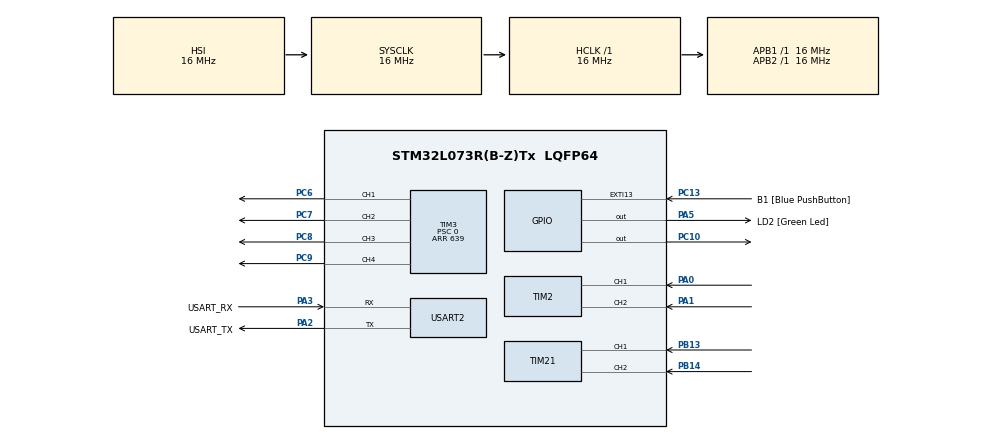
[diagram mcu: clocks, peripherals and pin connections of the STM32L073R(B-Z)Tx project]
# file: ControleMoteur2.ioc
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Mcu.Family=STM32L0
Mcu.Name=STM32L073R(B-Z)Tx
Mcu.Package=LQFP64
PA0.GPIO_PuPd=GPIO_PULLUP
PA0.GPIO_Speed=GPIO_SPEED_FREQ_HIGH
PA0.Signal=S_TIM2_CH1
PA1.GPIO_PuPd=GPIO_PULLUP
PA1.GPIO_Speed=GPIO_SPEED_FREQ_HIGH
PA1.Signal=S_TIM2_CH2
PA13.GPIO_Label=TMS
PA13.Mode=Serial_Wire
PA13.Signal=SYS_SWDIO
PA14.GPIO_Label=TCK
PA14.Mode=Serial_Wire
PA14.Signal=SYS_SWCLK
PA2.GPIO_Label=USART_TX
PA2.Mode=Asynchronous
PA2.Signal=USART2_TX
PA3.GPIO_Label=USART_RX
PA3.Mode=Asynchronous
PA3.Signal=USART2_RX
PA5.GPIO_Label=LD2 [Green Led]
PA5.Signal=GPIO_Output
PB13.GPIO_PuPd=GPIO_PULLUP
PB13.GPIO_Speed=GPIO_SPEED_FREQ_HIGH
PB13.Signal=S_TIM21_CH1
PB14.GPIO_PuPd=GPIO_PULLUP
PB14.GPIO_Speed=GPIO_SPEED_FREQ_HIGH
PB14.Signal=S_TIM21_CH2
PC10.Signal=GPIO_Output
PC13.GPIO_Label=B1 [Blue PushButton]
PC13.GPIO_ModeDefaultEXTI=GPIO_MODE_IT_FALLING
PC13.Signal=GPXTI13
PC14-OSC32_IN.Mode=LSE-External-Oscillator
PC14-OSC32_IN.Signal=RCC_OSC32_IN
PC15-OSC32_OUT.Mode=LSE-External-Oscillator
PC15-OSC32_OUT.Signal=RCC_OSC32_OUT
PC6.Signal=S_TIM3_CH1
PC7.Signal=S_TIM3_CH2
PC8.Signal=S_TIM3_CH3
PC9.Signal=S_TIM3_CH4
PH0-OSC_IN.GPIO_Label=MCO
PH0-OSC_IN.Mode=HSE-External-Clock-Source
PH0-OSC_IN.Signal=RCC_OSC_IN
ProjectManager.HeapSize=0x200
ProjectManager.StackSize=0x400
ProjectManager.TargetToolchain=STM32CubeIDE
RCC.AHBFreq_Value=16000000
RCC.APB1Freq_Value=16000000
RCC.APB1TimFreq_Value=16000000
RCC.APB2Freq_Value=16000000
RCC.APB2TimFreq_Value=16000000
RCC.HCLKFreq_Value=16000000
RCC.HSE_VALUE=8000000
RCC.HSI16_VALUE=16000000
RCC.HSI48_VALUE=48000000
RCC.HSI_VALUE=16000000
RCC.MSI_VALUE=2097000
RCC.SYSCLKFreq_VALUE=16000000
RCC.SYSCLKSource=RCC_SYSCLKSOURCE_HSI
RCC.VCOOutputFreq_Value=48000000
SH.S_TIM21_CH1.0=TIM21_CH1,Encoder_Interface
SH.S_TIM21_CH2.0=TIM21_CH2,Encoder_Interface
SH.S_TIM2_CH1.0=TIM2_CH1,Encoder_Interface
SH.S_TIM2_CH2.0=TIM2_CH2,Encoder_Interface
SH.S_TIM3_CH1.0=TIM3_CH1,PWM Generation1 CH1
SH.S_TIM3_CH2.0=TIM3_CH2,PWM Generation2 CH2
SH.S_TIM3_CH3.0=TIM3_CH3,PWM Generation3 CH3
SH.S_TIM3_CH4.0=TIM3_CH4,PWM Generation4 CH4
TIM2.EncoderMode=TIM_ENCODERMODE_TI12
TIM2.IC1Filter=0
TIM2.IC1Polarity=TIM_ICPOLARITY_RISING
TIM2.IC2Filter=0
TIM2.IC2Polarity=TIM_ICPOLARITY_RISING
TIM21.EncoderMode=TIM_ENCODERMODE_TI12
TIM3.AutoReloadPreload=TIM_AUTORELOAD_PRELOAD_ENABLE
TIM3.Channel-PWM\ Generation1\ CH1=TIM_CHANNEL_1
TIM3.Channel-PWM\ Generation2\ CH2=TIM_CHANNEL_2
TIM3.Channel-PWM\ Generation3\ CH3=TIM_CHANNEL_3
TIM3.Channel-PWM\ Generation4\ CH4=TIM_CHANNEL_4
TIM3.Period=639
TIM3.Prescaler=0
USART2.VirtualMode-Asynchronous=VM_ASYNC
VP_TIM3_VS_ClockSourceINT.Mode=Internal
board=NUCLEO-L073RZ

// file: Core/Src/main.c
/* USER CODE BEGIN Header */
/**
  ******************************************************************************
  * @file           : main.c
  * @brief          : Main program body
  ******************************************************************************
  * @attention
  *
  * Copyright (c) 2025 STMicroelectronics.
  * All rights reserved.
  *
  * This software is licensed under terms that can be found in the LICENSE file
  * in the root directory of this software component.
  * If no LICENSE file comes with this software, it is provided AS-IS.
  *
  ******************************************************************************
  */
/* USER CODE END Header */
#include "main.h"
#include "tim.h"
#include "usart.h"
#include "gpio.h"

/* USER CODE BEGIN PD */
void ModelecOdometrySetup(void **out_pid, void **out_pidG, void **out_pidD);

void ModelecOdometryLoop(void* pid, void* pidG, void* pidD);

/* USER CODE END PD */

void SystemClock_Config(void);

/* USER CODE BEGIN 0 */
int counter1=0;
int counter2=0;
/* USER CODE END 0 */

int main(void)
{

  /* MCU Configuration--------------------------------------------------------*/

  /* Reset of all peripherals, Initializes the Flash interface and the Systick. */
  HAL_Init();

  /* Configure the system clock */
  SystemClock_Config();

  /* Initialize all configured peripherals */
  MX_GPIO_Init();
  MX_USART2_UART_Init();
  MX_TIM3_Init();
  MX_TIM2_Init();
  MX_TIM21_Init();
  /* USER CODE BEGIN 2 */
  HAL_TIM_PWM_Start(&htim3, TIM_CHANNEL_1);
  HAL_TIM_PWM_Start(&htim3, TIM_CHANNEL_2);
  HAL_TIM_PWM_Start(&htim3, TIM_CHANNEL_4);
  HAL_TIM_PWM_Start(&htim3, TIM_CHANNEL_3);
  HAL_TIM_Encoder_Start(&htim2, TIM_CHANNEL_ALL);
  HAL_TIM_Encoder_Start(&htim21, TIM_CHANNEL_ALL);
  //HAL_TIM_Encoder_Start_IT(&htim2, TIM_CHANNEL_ALL);
  void *pid;
  void *pidG;
  void *pidD;
  ModelecOdometrySetup(&pid, &pidG, &pidD);

  /* USER CODE END 2 */

  /* Infinite loop */
  /* USER CODE BEGIN WHILE */

  while (1)
  {
	ModelecOdometryLoop(pid, pidG, pidD);

  }
    /* USER CODE END WHILE */

}

void SystemClock_Config(void)
{
  RCC_OscInitTypeDef RCC_OscInitStruct = {0};
  RCC_ClkInitTypeDef RCC_ClkInitStruct = {0};
  RCC_PeriphCLKInitTypeDef PeriphClkInit = {0};

  /** Configure the main internal regulator output voltage
  */
  __HAL_PWR_VOLTAGESCALING_CONFIG(PWR_REGULATOR_VOLTAGE_SCALE1);

  /** Initializes the RCC Oscillators according to the specified parameters
  * in the RCC_OscInitTypeDef structure.
  */
  RCC_OscInitStruct.OscillatorType = RCC_OSCILLATORTYPE_HSI;
  RCC_OscInitStruct.HSIState = RCC_HSI_ON;
  RCC_OscInitStruct.HSICalibrationValue = RCC_HSICALIBRATION_DEFAULT;
  RCC_OscInitStruct.PLL.PLLState = RCC_PLL_NONE;
  if (HAL_RCC_OscConfig(&RCC_OscInitStruct) != HAL_OK)
  {
    Error_Handler();
  }

  /** Initializes the CPU, AHB and APB buses clocks
  */
  RCC_ClkInitStruct.ClockType = RCC_CLOCKTYPE_HCLK|RCC_CLOCKTYPE_SYSCLK
                              |RCC_CLOCKTYPE_PCLK1|RCC_CLOCKTYPE_PCLK2;
  RCC_ClkInitStruct.SYSCLKSource = RCC_SYSCLKSOURCE_HSI;
  RCC_ClkInitStruct.AHBCLKDivider = RCC_SYSCLK_DIV1;
  RCC_ClkInitStruct.APB1CLKDivider = RCC_HCLK_DIV1;
  RCC_ClkInitStruct.APB2CLKDivider = RCC_HCLK_DIV1;

  if (HAL_RCC_ClockConfig(&RCC_ClkInitStruct, FLASH_LATENCY_0) != HAL_OK)
  {
    Error_Handler();
  }
  PeriphClkInit.PeriphClockSelection = RCC_PERIPHCLK_USART2;
  PeriphClkInit.Usart2ClockSelection = RCC_USART2CLKSOURCE_PCLK1;
  if (HAL_RCCEx_PeriphCLKConfig(&PeriphClkInit) != HAL_OK)
  {
    Error_Handler();
  }
}

void Error_Handler(void)
{
  __disable_irq();
  while (1)
  {
  }
}
